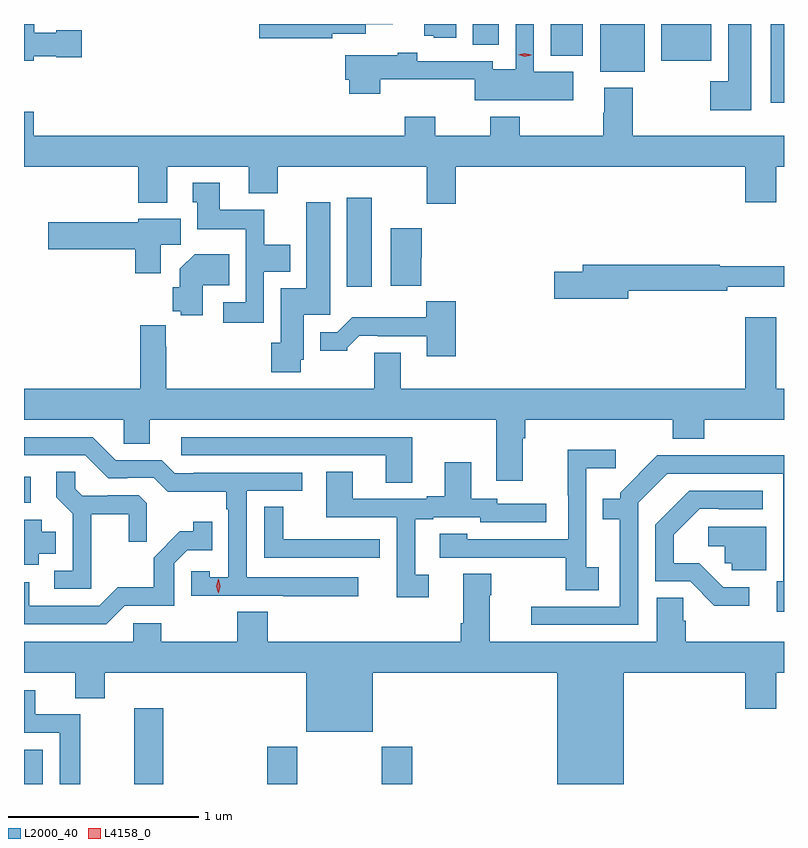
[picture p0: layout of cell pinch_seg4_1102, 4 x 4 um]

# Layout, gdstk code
import gdstk
lib = gdstk.Library(unit=1e-6, precision=1e-09)
def R(c, l, rs):  # rectangles x0, y0, x1, y1
    for r in rs: c.add(gdstk.rectangle(r[:2], r[2:], *l))
def P(c, l, *ps):  # polygons
    for p in ps: c.add(gdstk.Polygon(p, *l))
L2000_40 = (2000, 40)
L4158_0 = (4158, 0)

pinch_seg4_1102 = lib.new_cell('pinch_seg4_1102')
R(pinch_seg4_1102, L2000_40, [(424.948,794.903,425.047,795.082), (425.527,794.903,425.681,795.301), (426.227,794.903,426.387,795.1), (426.832,794.903,426.992,795.1), (424.948,796.383,424.984,796.519), (426.647,797.52,426.778,797.989), (428.877,798.488,428.948,798.903), (427.982,798.653,428.215,798.903), (428.303,798.71,428.566,798.903), (427.721,798.737,427.888,798.903), (427.31,798.793,427.447,798.903)])
P(pinch_seg4_1102, L2000_40, [(426.57,798.851),(426.747,798.851),(426.747,798.902),(426.889,798.902),(426.889,798.903),(426.186,798.903),(426.186,798.827),(426.57,798.827)],
  [(424.998,798.734),(425.118,798.734),(425.118,798.727),(425.251,798.727),(425.251,798.869),(425.118,798.869),(425.118,798.856),(425.002,798.856),(425.002,798.903),(424.948,798.903),(424.948,798.71),(424.998,798.71)],
  [(427.84,798.652),(427.632,798.652),(427.632,798.903),(427.536,798.903),(427.536,798.664),(427.416,798.664),(427.416,798.708),(427.018,798.708),(427.018,798.752),(426.914,798.752),(426.914,798.739),(426.638,798.739),(426.638,798.61),(426.659,798.61),(426.659,798.536),(426.824,798.536),(426.824,798.611),(427.32,798.611),(427.32,798.503),(427.84,798.503)],
  [(428.776,798.903),(428.654,798.903),(428.654,798.601),(428.559,798.601),(428.559,798.449),(428.776,798.449)],
  [(427.222,798.903),(427.055,798.903),(427.055,798.842),(427.104,798.842),(427.104,798.83),(427.222,798.83)],
  [(427.22,798.152),(428.744,798.152),(428.744,797.964),(428.908,797.964),(428.908,798.152),(428.948,798.152),(428.948,798.316),(428.151,798.316),(428.151,798.568),(428.003,798.568),(428.003,798.437),(427.996,798.437),(427.996,798.316),(427.557,798.316),(427.557,798.415),(427.402,798.415),(427.402,798.316),(427.113,798.316),(427.113,798.415),(426.953,798.415),(426.953,798.316),(425,798.316),(425,798.44),(424.948,798.44),(424.948,798.152),(425.549,798.152),(425.549,797.963),(425.701,797.963),(425.701,798.152),(426.131,798.152),(426.131,798.011),(426.284,798.011),(426.284,798.152),(427.067,798.152),(427.067,797.958),(427.22,797.958)],
  [(426.21,797.6),(426.349,797.6),(426.349,797.74),(426.213,797.74),(426.213,797.926),(425.977,797.926),(425.977,798.067),(425.837,798.067),(425.837,797.964),(425.861,797.964),(425.861,797.822),(426.114,797.822),(426.114,797.439),(425.997,797.439),(425.997,797.331),(426.21,797.331)],
  [(426.405,797.136),(426.421,797.136),(426.421,797.373),(426.559,797.373),(426.559,797.965),(426.434,797.965),(426.434,797.512),(426.299,797.512),(426.299,797.226),(426.248,797.226),(426.248,797.07),(426.405,797.07)],
  [(425.668,797.74),(425.773,797.74),(425.773,797.878),(425.55,797.878),(425.55,797.859),(425.076,797.859),(425.076,797.717),(425.534,797.717),(425.534,797.592),(425.668,797.592)],
  [(427.04,797.673),(427.042,797.673),(427.042,797.827),(426.878,797.827),(426.878,797.525),(427.04,797.525)],
  [(425.89,797.528),(426.029,797.528),(426.029,797.692),(425.846,797.692),(425.768,797.614),(425.768,797.518),(425.73,797.518),(425.73,797.39),(425.772,797.39),(425.772,797.371),(425.89,797.371)],
  [(428.128,797.5),(428.648,797.5),(428.648,797.519),(428.948,797.519),(428.948,797.629),(428.611,797.629),(428.611,797.636),(427.889,797.636),(427.889,797.6),(427.74,797.6),(427.74,797.458),(428.128,797.458)],
  [(427.22,797.443),(427.065,797.443),(427.065,797.359),(426.676,797.359),(426.597,797.28),(426.506,797.28),(426.506,797.183),(426.648,797.183),(426.648,797.198),(426.712,797.262),(426.811,797.262),(426.811,797.259),(427.067,797.259),(427.067,797.154),(427.22,797.154)],
  [(427.573,796.724),(427.586,796.724),(427.586,796.82),(428.363,796.82),(428.363,796.721),(428.528,796.721),(428.528,796.82),(428.948,796.82),(428.948,796.984),(428.908,796.984),(428.908,797.359),(428.744,797.359),(428.744,796.984),(426.931,796.984),(426.931,797.174),(426.791,797.174),(426.791,796.984),(425.696,796.984),(425.696,797.204),(425.695,797.204),(425.695,797.317),(425.56,797.317),(425.56,796.984),(424.948,796.984),(424.948,796.82),(425.472,796.82),(425.472,796.693),(425.611,796.693),(425.611,796.82),(427.433,796.82),(427.433,796.5),(427.573,796.5)],
  [(426.991,796.728),(425.775,796.728),(425.775,796.632),(426.851,796.632),(426.851,796.489),(426.991,796.489)],
  [(426.706,795.99),(426.12,795.99),(426.12,796.446),(426.412,796.446),(426.412,796.542),(425.842,796.542),(425.842,796.539),(425.742,796.539),(425.673,796.608),(425.43,796.608),(425.31,796.728),(424.948,796.728),(424.948,796.632),(425.271,796.632),(425.391,796.512),(425.492,796.512),(425.492,796.515),(425.631,796.515),(425.704,796.442),(426.012,796.442),(426.012,796.349),(426.024,796.349),(426.024,795.991),(425.925,795.991),(425.925,796.023),(425.829,796.023),(425.829,795.894),(426.313,795.894),(426.313,795.892),(426.706,795.892)],
  [(427.972,796.044),(427.908,796.044),(427.908,796.565),(428.062,796.565),(428.062,796.663),(427.81,796.663),(427.81,796.424),(427.812,796.424),(427.812,796.191),(427.281,796.191),(427.281,796.219),(427.137,796.219),(427.137,796.095),(427.495,796.095),(427.495,796.093),(427.8,796.093),(427.8,795.922),(427.972,795.922)],
  [(428.181,796.383),(428.334,796.536),(428.943,796.536),(428.943,795.97),(428.909,795.97),(428.909,795.81),(428.948,795.81),(428.948,796.634),(428.611,796.634),(428.611,796.632),(428.28,796.632),(428.085,796.437),(428.085,796.405),(427.993,796.405),(427.993,796.296),(428.084,796.296),(428.084,795.837),(427.617,795.837),(427.617,795.741),(428.181,795.741)],
  [(427.078,796.005),(427.006,796.005),(427.006,796.296),(427.102,796.296),(427.102,796.308),(427.35,796.308),(427.35,796.281),(427.696,796.281),(427.696,796.377),(427.44,796.377),(427.44,796.404),(427.303,796.404),(427.303,796.597),(427.163,796.597),(427.163,796.417),(427.067,796.417),(427.067,796.404),(426.679,796.404),(426.679,796.547),(426.539,796.547),(426.539,796.308),(426.909,796.308),(426.909,795.885),(427.078,795.885)],
  [(425.303,796.322),(425.5,796.322),(425.5,796.179),(425.594,796.179),(425.594,796.381),(425.553,796.422),(425.388,796.422),(425.388,796.419),(425.254,796.419),(425.217,796.456),(425.217,796.547),(425.119,796.547),(425.119,796.411),(425.205,796.325),(425.205,796.026),(425.106,796.026),(425.106,795.93),(425.303,795.93)],
  [(428.764,795.939),(428.628,795.939),(428.501,796.066),(428.368,796.066),(428.368,796.216),(428.505,796.353),(428.605,796.353),(428.605,796.35),(428.836,796.35),(428.836,796.446),(428.45,796.446),(428.271,796.267),(428.271,795.969),(428.454,795.969),(428.582,795.842),(428.764,795.842)],
  [(426.82,796.19),(426.707,796.19),(426.707,796.191),(426.312,796.191),(426.312,796.361),(426.213,796.361),(426.213,796.095),(426.82,796.095)],
  [(425.026,796.115),(425.116,796.115),(425.116,796.231),(425.041,796.231),(425.041,796.294),(424.948,796.294),(424.948,796.058),(425.026,796.058)],
  [(425.478,795.84),(425.739,795.84),(425.739,796.065),(425.808,796.134),(425.939,796.134),(425.939,796.282),(425.838,796.282),(425.838,796.232),(425.768,796.232),(425.631,796.094),(425.631,795.939),(425.442,795.939),(425.343,795.84),(424.975,795.84),(424.975,795.966),(424.948,795.966),(424.948,795.744),(425.382,795.744)],
  [(428.854,796.257),(428.55,796.257),(428.55,796.154),(428.637,796.154),(428.637,796.065),(428.673,796.065),(428.673,796.029),(428.854,796.029)],
  [(427.399,795.896),(427.407,795.896),(427.407,796.009),(427.259,796.009),(427.259,795.748),(427.247,795.748),(427.247,795.652),(426.23,795.652),(426.23,795.809),(426.07,795.809),(426.07,795.652),(425.67,795.652),(425.67,795.75),(425.523,795.75),(425.523,795.652),(424.948,795.652),(424.948,795.488),(425.219,795.488),(425.219,795.355),(425.372,795.355),(425.372,795.488),(426.434,795.488),(426.434,795.179),(426.784,795.179),(426.784,795.488),(427.754,795.488),(427.754,794.903),(428.104,794.903),(428.104,795.488),(428.744,795.488),(428.744,795.3),(428.908,795.3),(428.908,795.488),(428.948,795.488),(428.948,795.652),(428.432,795.652),(428.432,795.762),(428.417,795.762),(428.417,795.884),(428.279,795.884),(428.279,795.652),(427.399,795.652)],
  [(425.245,795.27),(425.006,795.27),(425.006,795.396),(424.948,795.396),(424.948,795.174),(425.136,795.174),(425.136,794.903),(425.245,794.903)])
P(pinch_seg4_1102, L4158_0, [(427.583,798.73),(427.548,798.741),(427.548,798.741),(427.548,798.741),(427.583,798.75),(427.618,798.74),(427.618,798.74),(427.618,798.739)],
  [(425.971,795.909),(425.961,795.945),(425.971,795.981),(425.972,795.981),(425.972,795.981),(425.982,795.945),(425.972,795.909),(425.972,795.909)])

lib.write_gds('pinch_seg4_1102.gds')
